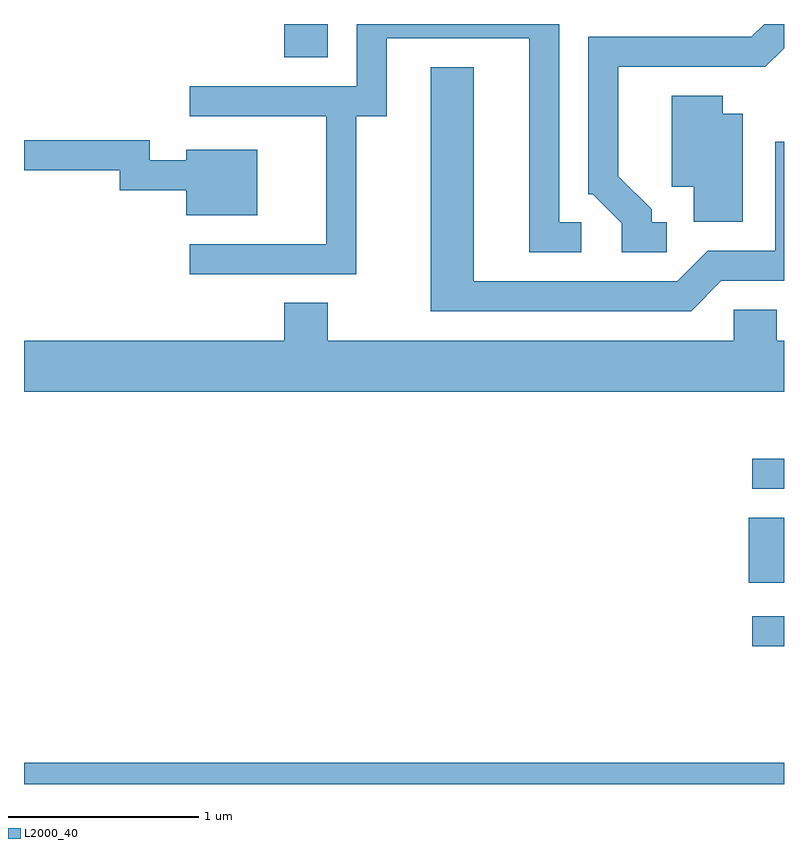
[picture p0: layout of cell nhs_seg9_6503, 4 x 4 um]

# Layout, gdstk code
import gdstk
lib = gdstk.Library(unit=1e-6, precision=1e-09)
def R(c, l, rs):  # rectangles x0, y0, x1, y1
    for r in rs: c.add(gdstk.rectangle(r[:2], r[2:], *l))
def P(c, l, *ps):  # polygons
    for p in ps: c.add(gdstk.Polygon(p, *l))
L2000_40 = (2000, 40)

nhs_seg9_6503 = lib.new_cell('nhs_seg9_6503')
R(nhs_seg9_6503, L2000_40, [(377.611,1976.432,381.611,1976.544), (381.443,1977.156,381.611,1977.314), (381.426,1977.491,381.611,1977.834), (381.443,1977.986,381.611,1978.144), (378.981,1980.256,379.209,1980.432)])
P(nhs_seg9_6503, L2000_40, [(380.993,1979.389),(380.914,1979.389),(380.914,1979.457),(380.739,1979.632),(380.739,1980.206),(381.512,1980.206),(381.611,1980.305),(381.611,1980.432),(381.507,1980.432),(381.439,1980.364),(380.581,1980.364),(380.581,1979.536),(380.604,1979.536),(380.756,1979.384),(380.756,1979.231),(380.993,1979.231)],
  [(379.359,1979.946),(379.519,1979.946),(379.519,1980.356),(380.271,1980.356),(380.271,1979.231),(380.543,1979.231),(380.543,1979.389),(380.429,1979.389),(380.429,1980.432),(379.361,1980.432),(379.361,1980.104),(378.483,1980.104),(378.483,1979.946),(379.201,1979.946),(379.201,1979.274),(378.483,1979.274),(378.483,1979.116),(379.359,1979.116)],
  [(381.282,1979.081),(381.611,1979.081),(381.611,1979.813),(381.566,1979.813),(381.566,1979.239),(381.209,1979.239),(381.049,1979.079),(379.979,1979.079),(379.979,1980.204),(379.751,1980.204),(379.751,1978.921),(381.122,1978.921)],
  [(381.394,1979.959),(381.289,1979.959),(381.289,1980.054),(381.021,1980.054),(381.021,1979.576),(381.136,1979.576),(381.136,1979.391),(381.394,1979.391)],
  [(378.839,1979.769),(378.466,1979.769),(378.466,1979.714),(378.274,1979.714),(378.274,1979.819),(377.611,1979.819),(377.611,1979.661),(378.116,1979.661),(378.116,1979.556),(378.466,1979.556),(378.466,1979.426),(378.839,1979.426)],
  [(381.611,1978.764),(381.574,1978.764),(381.574,1978.929),(381.346,1978.929),(381.346,1978.764),(379.209,1978.764),(379.209,1978.964),(378.981,1978.964),(378.981,1978.764),(377.611,1978.764),(377.611,1978.496),(381.611,1978.496)])

lib.write_gds('nhs_seg9_6503.gds')
